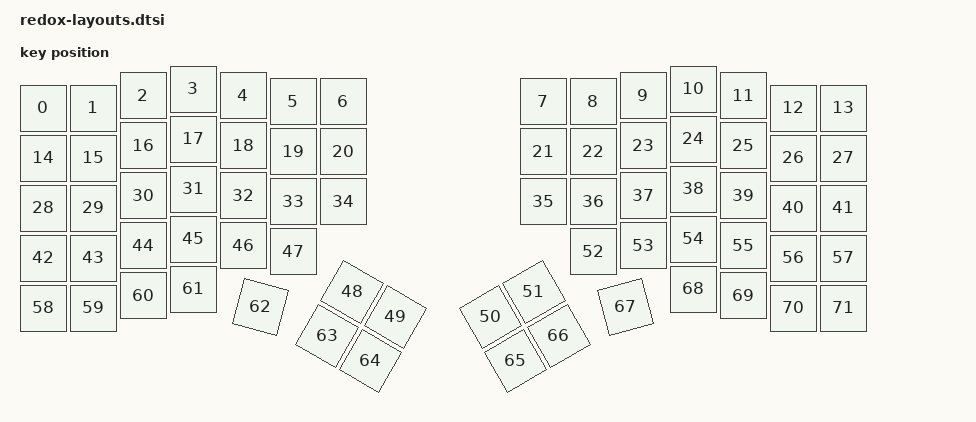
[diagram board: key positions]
#include <physical_layouts.dtsi>

/ {
    redox_layout: redox_layout {
        compatible = "zmk,physical-layout";
        display-name = "Layout";

        transform = <&default_transform>;

        keys  //                     w   h    x    y     rot    rx    ry
      = <&key_physical_attrs 100 100    0   38       0     0     0>
      , <&key_physical_attrs 100 100  100   38       0     0     0>
      , <&key_physical_attrs 100 100  200   13       0     0     0>
      , <&key_physical_attrs 100 100  300    0       0     0     0>
      , <&key_physical_attrs 100 100  400   13       0     0     0>
      , <&key_physical_attrs 100 100  500   25       0     0     0>
      , <&key_physical_attrs 100 100  600   25       0     0     0>
      , <&key_physical_attrs 100 100 1000   25       0     0     0>
      , <&key_physical_attrs 100 100 1100   25       0     0     0>
      , <&key_physical_attrs 100 100 1200   13       0     0     0>
      , <&key_physical_attrs 100 100 1300    0       0     0     0>
      , <&key_physical_attrs 100 100 1400   13       0     0     0>
      , <&key_physical_attrs 100 100 1500   38       0     0     0>
      , <&key_physical_attrs 100 100 1600   38       0     0     0>
      , <&key_physical_attrs 100 100    0  138       0     0     0>
      , <&key_physical_attrs 100 100  100  138       0     0     0>
      , <&key_physical_attrs 100 100  200  113       0     0     0>
      , <&key_physical_attrs 100 100  300  100       0     0     0>
      , <&key_physical_attrs 100 100  400  113       0     0     0>
      , <&key_physical_attrs 100 100  500  125       0     0     0>
      , <&key_physical_attrs 100 100  600  125       0     0     0>
      , <&key_physical_attrs 100 100 1000  125       0     0     0>
      , <&key_physical_attrs 100 100 1100  125       0     0     0>
      , <&key_physical_attrs 100 100 1200  113       0     0     0>
      , <&key_physical_attrs 100 100 1300  100       0     0     0>
      , <&key_physical_attrs 100 100 1400  113       0     0     0>
      , <&key_physical_attrs 100 100 1500  138       0     0     0>
      , <&key_physical_attrs 100 100 1600  138       0     0     0>
      , <&key_physical_attrs 100 100    0  238       0     0     0>
      , <&key_physical_attrs 100 100  100  238       0     0     0>
      , <&key_physical_attrs 100 100  200  213       0     0     0>
      , <&key_physical_attrs 100 100  300  200       0     0     0>
      , <&key_physical_attrs 100 100  400  213       0     0     0>
      , <&key_physical_attrs 100 100  500  225       0     0     0>
      , <&key_physical_attrs 100 100  600  225       0     0     0>
      , <&key_physical_attrs 100 100 1000  225       0     0     0>
      , <&key_physical_attrs 100 100 1100  225       0     0     0>
      , <&key_physical_attrs 100 100 1200  213       0     0     0>
      , <&key_physical_attrs 100 100 1300  200       0     0     0>
      , <&key_physical_attrs 100 100 1400  213       0     0     0>
      , <&key_physical_attrs 100 100 1500  238       0     0     0>
      , <&key_physical_attrs 100 100 1600  238       0     0     0>
      , <&key_physical_attrs 100 100    0  338       0     0     0>
      , <&key_physical_attrs 100 100  100  338       0     0     0>
      , <&key_physical_attrs 100 100  200  313       0     0     0>
      , <&key_physical_attrs 100 100  300  300       0     0     0>
      , <&key_physical_attrs 100 100  400  313       0     0     0>
      , <&key_physical_attrs 100 100  500  325       0     0     0>
      , <&key_physical_attrs 100 100  650  388    3000   650   388>
      , <&key_physical_attrs 100 100  750  388    3000   650   388>
      , <&key_physical_attrs 100 100  850  388 (-3000)  1050   388>
      , <&key_physical_attrs 100 100  950  388 (-3000)  1050   388>
      , <&key_physical_attrs 100 100 1100  325       0     0     0>
      , <&key_physical_attrs 100 100 1200  313       0     0     0>
      , <&key_physical_attrs 100 100 1300  300       0     0     0>
      , <&key_physical_attrs 100 100 1400  313       0     0     0>
      , <&key_physical_attrs 100 100 1500  338       0     0     0>
      , <&key_physical_attrs 100 100 1600  338       0     0     0>
      , <&key_physical_attrs 100 100    0  438       0     0     0>
      , <&key_physical_attrs 100 100  100  438       0     0     0>
      , <&key_physical_attrs 100 100  200  413       0     0     0>
      , <&key_physical_attrs 100 100  300  400       0     0     0>
      , <&key_physical_attrs 100 100  450  425    1500   450   425>
      , <&key_physical_attrs 100 100  600  475    3000   600   475>
      , <&key_physical_attrs 100 100  700  475    3000   600   475>
      , <&key_physical_attrs 100 100  900  475 (-3000)  1100   475>
      , <&key_physical_attrs 100 100 1000  475 (-3000)  1100   475>
      , <&key_physical_attrs 100 100 1150  425 (-1500)  1250   425>
      , <&key_physical_attrs 100 100 1300  400       0     0     0>
      , <&key_physical_attrs 100 100 1400  413       0     0     0>
      , <&key_physical_attrs 100 100 1500  438       0     0     0>
      , <&key_physical_attrs 100 100 1600  438       0     0     0>
            ;
    };
};
